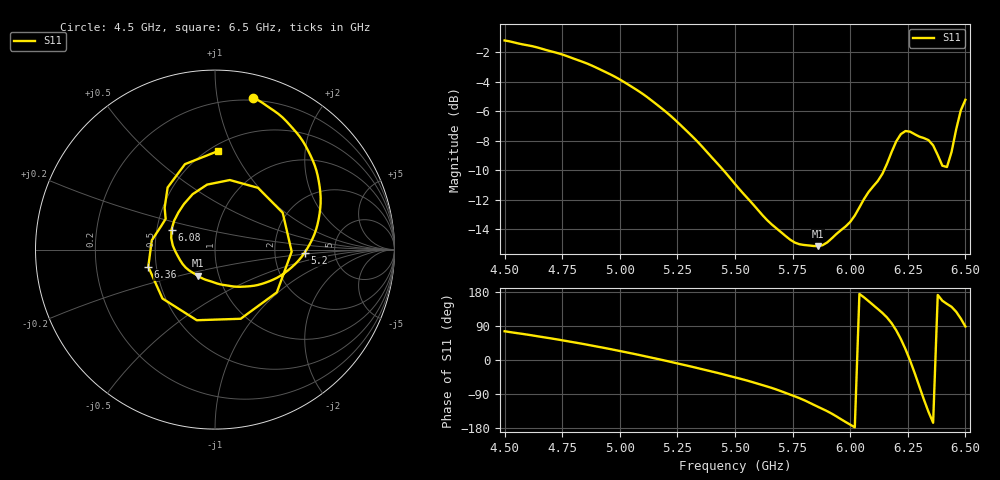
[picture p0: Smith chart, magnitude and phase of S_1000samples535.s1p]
! TOUCHSTONE file generated by CST MICROWAVE STUDIO
! Date and time: Fri Oct 28 12:14:29 2022
! Project name: L.cst
! Parameters = {Di=1.27; Epsilon_r=1.56; InnerDiameter=1.27; Length=2; Lf=10; Lg=60; OuterConductorThickness=0.2921; OuterDiameter=3.6; Wf=3; Wp=41.2; de=1.5; df=6.8; g=0.8; gx=1.39351; gy=2.68718; h=2.34; hf=1.524; px=11.1366; py=13.2675; w=9.7; wx=9.74309; wy=10.5803}
! Header version: 2018
! Port assignment regex: !\s*Touchstone port\s*([0-9]+)\s*=\s*(CST MWS port|CST DS port)\s*([0-9]+|Zmin|Zmax)\s*\(\"(.*)\"\)(\s*mode\s*([0-9]+))?.*
! Touchstone port assignment:
! Touchstone port 1 = CST MWS port 1 ("")
# GHz S DB R 50
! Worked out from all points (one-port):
!   101 points, 4.5 GHz to 6.5 GHz, reference 50 ohm
!   lowest |S11| = -15.2 dB at 5.86 GHz (marker M1), VSWR 1.42, Z = 39.6 - j11.9 ohm
!   |S11| at or under -10 dB: 5.449 GHz to 6.147 GHz (697.6 MHz wide, 12 % of centre)
!   S11 on the Smith chart (normalised r, x): 4.5 GHz: 0.18, +1.27; 5.2 GHz: 2.99, -0.14; 6.08 GHz: 0.60, +0.14; 6.36 GHz: 0.45, -0.10; 6.5 GHz: 0.55, +0.86
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4.5  -1.18 75.9
4.76  -2.19 50.9
4.88  -2.90 37.9
5  -3.84 23.7
5.2  -6.03 -2.1
5.26  -6.88 -10.4
5.38  -8.79 -27.6
5.5  -10.94 -45.9
5.76  -14.93 -96.0
5.86  -15.17 -123.5
6  -13.52 -170.6
6.08  -11.48 155.2
6.16  -9.55 112.0
6.2  -8.04 78.0
6.22  -7.55 55.1
6.24  -7.34 28.5
6.26  -7.38 -1.6
6.28  -7.56 -34.7
6.3  -7.72 -69.6
6.32  -7.82 -104.5
6.34  -7.96 -137.1
6.36  -8.32 -165.6
6.38  -8.97 171.7
6.42  -9.79 148.0
6.44  -8.76 140.3
6.46  -7.23 127.3
6.48  -5.94 109.4
6.5  -5.22 88.4
